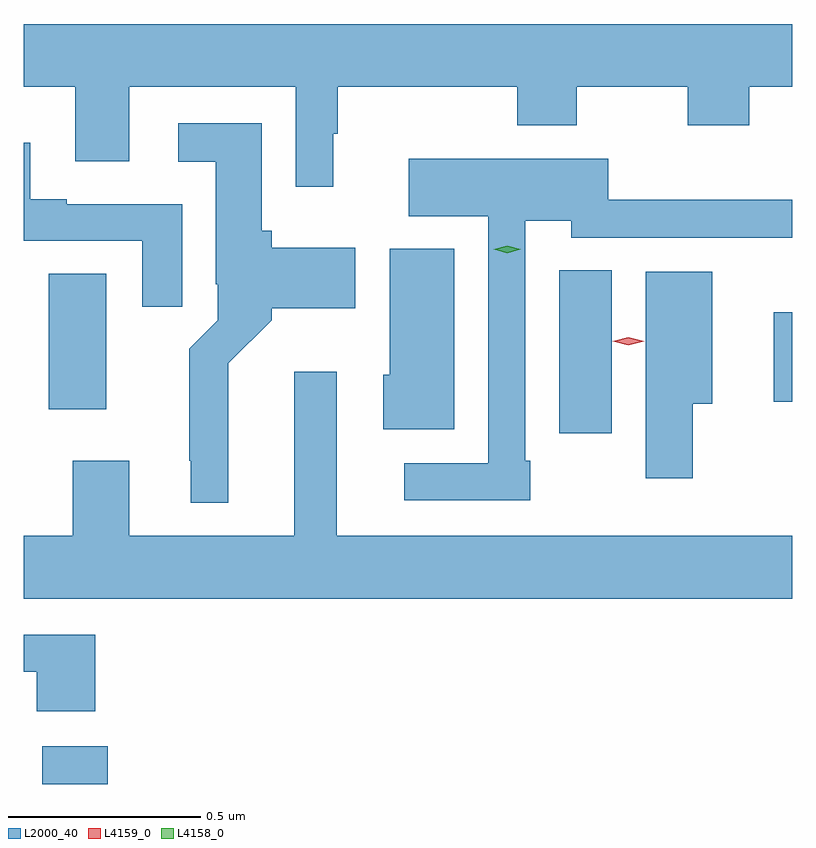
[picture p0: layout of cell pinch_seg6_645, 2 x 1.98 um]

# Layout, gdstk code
import gdstk
lib = gdstk.Library(unit=1e-6, precision=1e-09)
def R(c, l, rs):  # rectangles x0, y0, x1, y1
    for r in rs: c.add(gdstk.rectangle(r[:2], r[2:], *l))
def P(c, l, *ps):  # polygons
    for p in ps: c.add(gdstk.Polygon(p, *l))
L2000_40 = (2000, 40)
L4158_0 = (4158, 0)
L4159_0 = (4159, 0)

pinch_seg6_645 = lib.new_cell('pinch_seg6_645')
R(pinch_seg6_645, L2000_40, [(486.356,977.489,486.527,977.587), (487.703,978.402,487.84,978.827), (486.374,978.465,486.523,978.818), (488.261,978.485,488.309,978.718)])
P(pinch_seg6_645, L2000_40, [(487.115,979.182),(487.126,979.182),(487.126,979.304),(487.594,979.304),(487.594,979.205),(487.749,979.205),(487.749,979.304),(488.038,979.304),(488.038,979.205),(488.198,979.205),(488.198,979.304),(488.309,979.304),(488.309,979.468),(486.309,979.468),(486.309,979.304),(486.443,979.304),(486.443,979.11),(486.583,979.11),(486.583,979.304),(487.017,979.304),(487.017,979.044),(487.115,979.044)],
  [(486.841,978.584),(486.954,978.697),(486.954,978.728),(487.171,978.728),(487.171,978.886),(486.954,978.886),(486.954,978.93),(486.928,978.93),(486.928,979.21),(486.711,979.21),(486.711,979.109),(486.809,979.109),(486.809,978.79),(486.813,978.79),(486.813,978.696),(486.739,978.622),(486.739,978.331),(486.743,978.331),(486.743,978.221),(486.841,978.221)],
  [(486.721,978.999),(486.421,978.999),(486.421,979.012),(486.325,979.012),(486.325,979.159),(486.309,979.159),(486.309,978.903),(486.617,978.903),(486.617,978.732),(486.721,978.732)],
  [(487.627,978.331),(487.614,978.331),(487.614,978.956),(487.734,978.956),(487.734,978.912),(488.309,978.912),(488.309,979.01),(487.83,979.01),(487.83,979.117),(487.311,979.117),(487.311,978.968),(487.518,978.968),(487.518,978.324),(487.299,978.324),(487.299,978.228),(487.627,978.228)],
  [(487.429,978.883),(487.262,978.883),(487.262,978.555),(487.244,978.555),(487.244,978.413),(487.429,978.413)],
  [(488.05,978.479),(488.101,978.479),(488.101,978.823),(487.928,978.823),(487.928,978.285),(488.05,978.285)],
  [(488.309,978.136),(487.123,978.136),(487.123,978.562),(487.013,978.562),(487.013,978.136),(486.583,978.136),(486.583,978.331),(486.436,978.331),(486.436,978.136),(486.309,978.136),(486.309,977.972),(488.309,977.972)],
  [(486.494,977.877),(486.309,977.877),(486.309,977.781),(486.342,977.781),(486.342,977.678),(486.494,977.678)])
P(pinch_seg6_645, L4158_0, [(487.567,978.871),(487.532,978.882),(487.532,978.882),(487.532,978.882),(487.567,978.891),(487.602,978.881),(487.602,978.881),(487.602,978.881)])
P(pinch_seg6_645, L4159_0, [(487.883,978.632),(487.842,978.642),(487.842,978.642),(487.842,978.642),(487.883,978.652),(487.924,978.642),(487.924,978.642),(487.924,978.642)])

lib.write_gds('pinch_seg6_645.gds')
